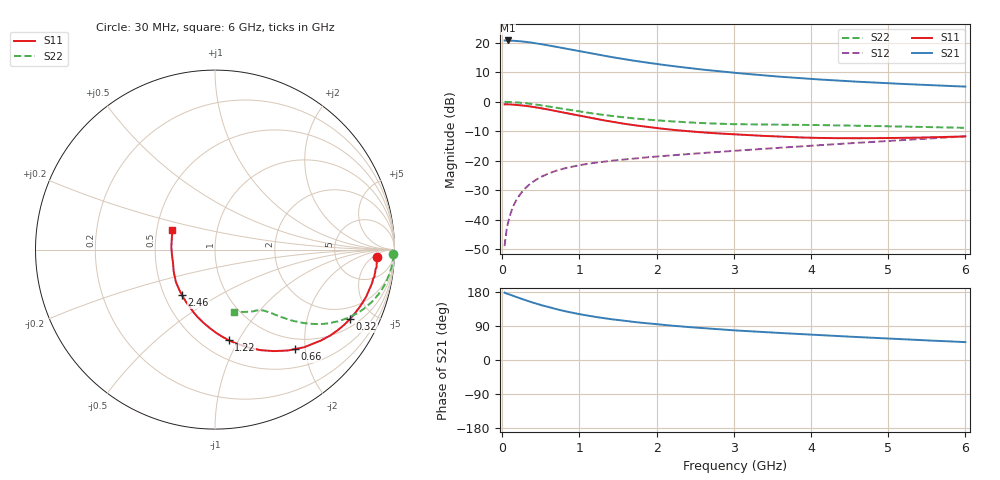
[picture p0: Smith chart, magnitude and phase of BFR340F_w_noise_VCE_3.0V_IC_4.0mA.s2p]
! Infineon Technologies  Discrete & RF Semiconductors
! BFR340F
! VCE =  3.0 V,  IC =  4.0 mA
! Common Emitter S-Parameters:  Nov 2015
# GHz  S  MA  R  50
!  f  S11  S21  S12  S22
! GHz  MAG  ANG  MAG  ANG  MAG  ANG  MAG  ANG
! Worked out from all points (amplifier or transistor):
!   206 points, 30 MHz to 6 GHz, reference 50 ohm
!   highest |S21| = 20.7 dB at 70 MHz (marker M1)
!   |S21| within 3 dB of that: start of sweep to 868.3 MHz
!   unconditionally stable (mu >= 1): 3.488 GHz to end of sweep
!   at 200 MHz: K = 0.10, MSG = 26.5 dB, |S12| = -32.5 dB
!   at 1.56 GHz: K = 0.68, MSG = 17.0 dB, |S12| = -19.6 dB
!   at 6 GHz: K = 1.01, MAG = 7.7 dB, |S12| = -11.7 dB
!   lowest NFmin = 1.17 dB at 1.9 GHz
!   S11 on the Smith chart (normalised r, x): 30 MHz: 17, -7; 320 MHz: 1.36, -3.68; 660 MHz: 0.80, -1.80; 1.22 GHz: 0.67, -0.91; 2.46 GHz: 0.62, -0.35; 6 GHz: 0.61, +0.14
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0.03  0.9042 -2.6  10.88 177.7  0.0036 87.7  0.9933 -1.5
0.05  0.9037 -4.3  10.82 175.6  0.0061 88.0  0.9924 -2.6
0.06  0.9054 -5.6  10.81 175.1  0.0075 87.2  0.9928 -3.2
0.07  0.9051 -6.3  10.88 174.2  0.0084 86.1  0.9921 -3.7
0.08  0.9007 -7.1  10.84 173.9  0.0097 85.7  0.991 -4.3
0.2  0.8821 -17.4  10.64 165.0  0.0237 80.2  0.9713 -10.5
0.32  0.8456 -27.1  10.24 156.6  0.0366 75.1  0.9374 -16.2
0.4  0.8181 -33.3  9.906 151.3  0.0444 72.1  0.9098 -19.7
0.48  0.786 -39.1  9.542 146.3  0.0516 69.2  0.8797 -23.0
0.6  0.7368 -47.6  8.981 139.3  0.0611 65.6  0.8324 -27.2
0.66  0.7103 -51.3  8.678 136.2  0.0653 64.0  0.8084 -29.0
0.8  0.6537 -59.9  8.011 129.3  0.0742 60.9  0.7548 -33.0
1.04  0.566 -72.7  6.99 119.6  0.0861 57.1  0.6729 -37.9
1.22  0.5105 -81.3  6.322 113.3  0.0935 55.3  0.6214 -40.7
1.4  0.4642 -89.2  5.744 108.0  0.0999 54.1  0.5782 -42.9
1.6  0.4204 -97.5  5.201 102.8  0.1063 53.4  0.5393 -44.8
2.02  0.3566 -112.0  4.321 93.9  0.1188 53.1  0.4826 -47.8
2.46  0.3132 -126.0  3.666 86.2  0.1316 53.7  0.4443 -50.6
3.1  0.2768 -142.9  3.011 77.2  0.1507 54.9  0.4157 -54.3
4.1  0.2442 -164.3  2.385 65.8  0.1837 56.6  0.4031 -58.6
5.1  0.2441 174.2  2.026 55.6  0.2211 57.3  0.3822 -65.4
6  0.2596 155.8  1.804 47.2  0.2594 57.0  0.3618 -72.8
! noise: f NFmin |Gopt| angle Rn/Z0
1.9  1.17  0.46  9  0.47
